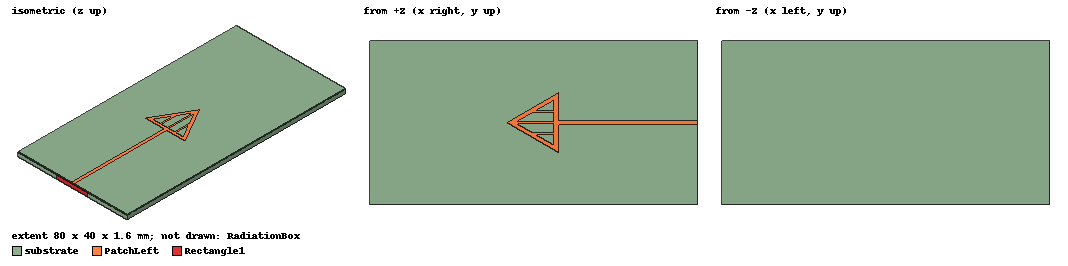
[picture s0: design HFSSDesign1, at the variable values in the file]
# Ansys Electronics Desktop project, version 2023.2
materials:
  vacuum: permittivity=1
  FR4_epoxy: permittivity=4.4 dielectric_loss_tangent=0.02
  air: permittivity=1.0006 permeability=1.0000004

design HFSSDesign1 (HFSS, HFSS Terminal Network, model units mm)
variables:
  S = 34mm
  a = 14.5mm
  W = 1mm
  d2 = 5.3mm
  delta = 0.5mm
  d = 2.4mm
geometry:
  substrate [FR4_epoxy] = box(corner=(-80mm, -20mm, -1.6mm), size=(80mm, 40mm, 1.6mm))
  Patch = polyline(z=0mm, xy in mm: (-46.54, 0) (-34, -7.25) (-34, 7.25) (-46.54, 0), closed, covered)
  Feedline = rectangle(corner=(-S, -W/2, 0mm), x_size=S, y_size=W)
  Patch.unite(Feedline)
  Polyline1 = polyline(z=0mm, xy in mm: (-44.6015, 0) (-35, -5.55) (-35, 5.55) (-44.6015, 0), closed, covered)
  Patch.subtract(Polyline1)
  FeedLine2 = rectangle(corner=(-(44.6015) mm, -delta/2, 0mm), x_size=9.6015mm, y_size=delta)
  FeedLine2.unite(Patch)
  PatchLeft = rectangle(corner=(-41mm, -(d2-d), 0mm), x_size=6mm, y_size=delta)
  PatchRight = rectangle(corner=(-41mm, d2-d-delta, 0mm), x_size=6mm, y_size=delta)
  PatchLeft.unite(FeedLine2, PatchRight)
  RadiationBox [air] = box(corner=(-100mm, -40mm, 5mm), size=(120mm, 80mm, -10mm))
  Rectangle1 = rectangle(corner=(0mm, -5.55mm, 0mm), y_size=11.1mm, z_size=-1.6mm)
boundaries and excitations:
  PerfE1: Perfect E Objects=PatchLeft
  PerfE2: Perfect E Objects=RadiationBox
  Rad1: Radiation Objects=RadiationBox
  1: Lumped Port Objects=Rectangle1 LumpedPortType=Modal Modes{Mode1{IntLine{(0, 0, -1.6) -> (0, 0, 0)} CharImp=Zpi}} Impedance=50ohm
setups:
  Setup1: HfssDriven Frequency=5.6GHz MaxDeltaS=0.02 MaximumPasses=6 MinimumPasses=1 MinimumConvergedPasses=1 PercentRefinement=30 BasisOrder=1 PortAccuracy=2 DrivenSolverType="Direct Solver"
    sweep Sweep: 4GHz to 6.5GHz, 20 points; Type=Interpolating InterpTolerance=0.5 InterpMaxSolns=250 PassivityErrorTolerance=0.0001
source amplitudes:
  1:1: 1V 0deg
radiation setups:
  Infinite Sphere1: Infinite Sphere Theta=0deg..360deg step 30deg Phi=0deg..90deg step 90deg
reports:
  Terminal S Parameter Plot 1: dB(St(1,1)) vs Freq on Setup1 : Sweep; markers m1 at 5.5789474GHz
  Gain Plot 1: dB(GainCoPolar), dB(GainCrossPolar) vs Theta on Setup1 : LastAdaptive, Infinite Sphere1 [Phi=all Freq=5.6GHz]
